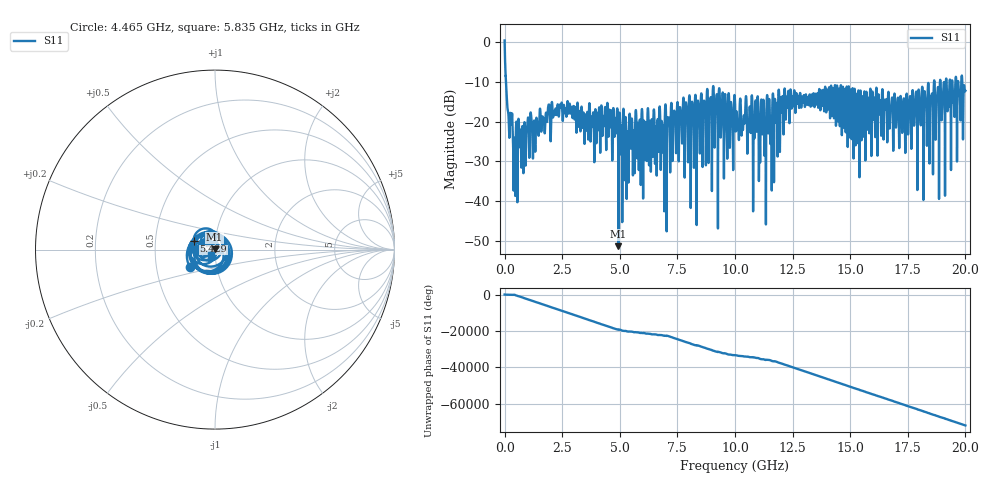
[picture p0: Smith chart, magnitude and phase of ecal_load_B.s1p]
! MS46122B
! 2250307/22442219
! 7/22/2025 3:12:29 PM
! C:\USERS\SPARKY\DOCUMENTS\VNA_DATA\JULY22_2025\295\ECAL_LOAD_B.S1P
! CHANNEL.1
! TR.MEASUREMENT
! RAW.DATA
# GHZ S RI R 50.0
! FREQ.GHZ  S11RE  S11IM
!; PortSelection: Port_1
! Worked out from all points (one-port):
!   10001 points, 1 MHz to 20 GHz, reference 50 ohm
!   lowest |S11| = -51.3 dB at 4.941 GHz (marker M1), VSWR 1.01, Z = 49.8 + j0.181 ohm
!   |S11| at or under -10 dB: 59.72 MHz to 18.64 GHz (18.58 GHz wide, 199 % of centre); 18.66 GHz to 18.9 GHz (237.9 MHz wide, 1.27 % of centre); 18.92 GHz to 19.15 GHz (230.9 MHz wide, 1.21 % of centre) (the widest 3 of 9)
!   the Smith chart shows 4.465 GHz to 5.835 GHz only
!   S11 on the Smith chart (normalised r, x): 4.465 GHz: 0.74, -0.15; 5.429 GHz: 0.79, +0.08; 5.835 GHz: 0.96, -0.06
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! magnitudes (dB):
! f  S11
! 1 MHz  0.4
! 145 MHz  -17.3
! 469 MHz  -34.1
! 585 MHz  -20.8
! 821 MHz  -32.3
! 1.079 GHz  -27.5
! 1.273 GHz  -20.1
! 1.871 GHz  -17.5
! 2.501 GHz  -16.9
! 3.815 GHz  -20.9
! 4.465 GHz  -15.4
! 4.941 GHz  -51.3
! 5.001 GHz  -18.6
! 5.293 GHz  -33.2
! 5.429 GHz  -18.0
! 5.835 GHz  -28.3
! 7.501 GHz  -15.1
! 9.127 GHz  -21.6
! 9.185 GHz  -14.2
! 10 GHz  -14.9
! 10.67 GHz  -20.2
! 10.86 GHz  -19.8
! 10.92 GHz  -19.6
! 11.27 GHz  -21.6
! 12.5 GHz  -13.9
! 15 GHz  -14.4
! 17.5 GHz  -20.5
! 20 GHz  -12.2
